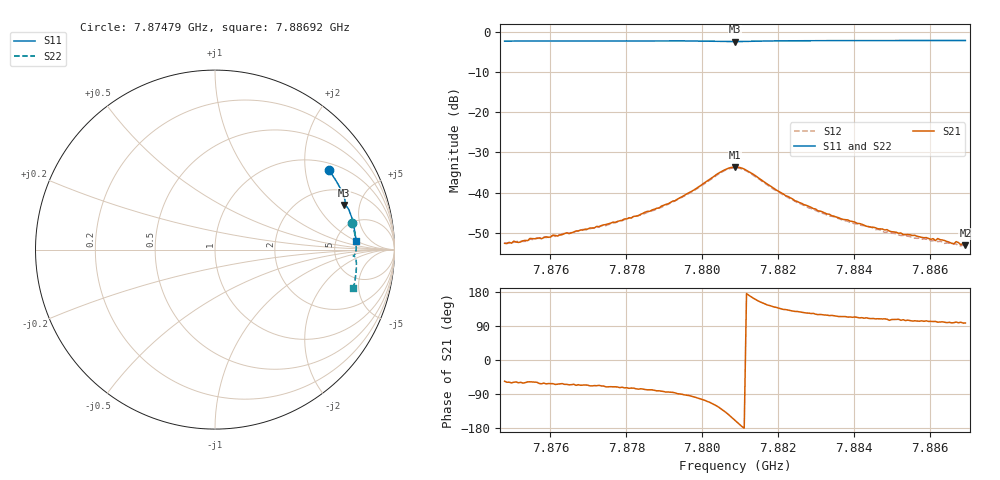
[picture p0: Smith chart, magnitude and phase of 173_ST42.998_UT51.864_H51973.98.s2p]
#  HZ  S  DB  R  50.00
! Rohde & Schwarz Vector Network Analyzer
! Rohde-Schwarz,ZNB20-2Port,1311601062101988,3.16
! Created: UTC 1/12/2023, 6:42:12 PM
! freq[Hz]  db:S11  ang:S11  db:S21  ang:S21  db:S12  ang:S12  db:S22  ang:S22
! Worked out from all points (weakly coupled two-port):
!   201 points, 7.87479 GHz to 7.88692 GHz, reference 50 ohm
!   highest |S21| = -33.66 dB at 7.88086 GHz (marker M1); lowest = -53.1 dB at 7.88692 GHz (marker M2)
!   lowest |S11| = -2.4 dB at 7.88086 GHz (marker M3), VSWR 7.40, Z = 150 + j178 ohm
!   |S11| at or under -10 dB: nowhere
!   |S22| runs from -2.3 to -1.9 dB; largest |S21 - S12| = 0.0014
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7.874794e9  -2.24 35.0  -52.66 -56.1  -52.70 -61.3  -2.17 11.1
7.876128e9  -2.21 31.4  -50.70 -64.5  -50.95 -65.7  -2.14 7.9
7.876856e9  -2.21 29.4  -49.36 -66.1  -49.20 -70.4  -2.12 6.3
7.876977e9  -2.21 29.1  -49.13 -66.3  -49.37 -69.7  -2.11 5.9
7.877463e9  -2.20 27.7  -47.98 -71.0  -48.25 -73.4  -2.11 4.9
7.878858e9  -2.19 23.9  -43.88 -81.2  -43.83 -85.0  -2.08 1.5
7.879767e9  -2.21 21.2  -39.42 -96.9  -39.65 -100.0  -2.10 -0.7
7.880556e9  -2.32 19.2  -34.50 -133.4  -34.67 -136.7  -2.22 -2.5
7.880859e9  -2.36 19.0  -33.66 -159.0  -33.82 -162.4  -2.26 -2.6
7.881162e9  -2.32 18.8  -34.48 175.3  -34.62 171.7  -2.21 -2.7
7.882133e9  -2.17 16.3  -40.38 133.5  -40.67 130.6  -2.05 -4.6
7.882921e9  -2.14 14.1  -44.02 123.1  -44.19 118.1  -2.01 -6.6
7.883892e9  -2.12 11.4  -47.13 113.7  -47.48 110.6  -1.99 -8.8
7.88468e9  -2.11 9.3  -49.06 108.5  -49.32 105.2  -1.98 -10.6
7.884802e9  -2.11 9.0  -49.35 108.7  -50.02 104.4  -1.97 -10.9
7.884923e9  -2.10 8.7  -49.62 104.6  -49.85 103.8  -1.97 -11.1
7.88559e9  -2.10 6.9  -50.67 103.5  -51.37 99.8  -1.96 -12.5
7.886136e9  -2.09 5.6  -51.98 101.8  -51.93 97.5  -1.95 -13.7
7.886197e9  -2.09 5.4  -51.48 99.8  -52.25 97.8  -1.95 -13.9
7.886621e9  -2.09 4.3  -52.80 98.5  -52.80 96.0  -1.94 -14.8
7.886682e9  -2.09 4.1  -52.25 100.3  -52.87 94.7  -1.94 -14.9
7.886924e9  -2.09 3.4  -53.12 97.6  -53.38 96.8  -1.94 -15.5
